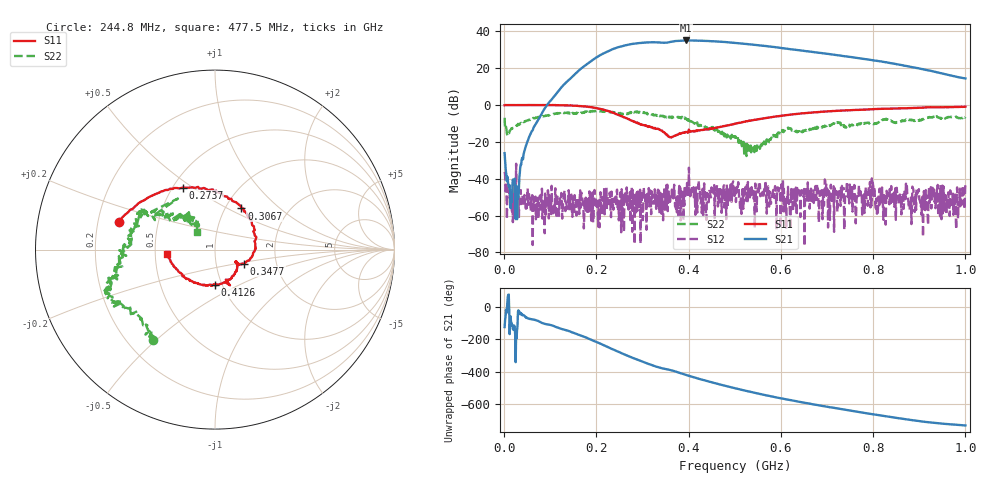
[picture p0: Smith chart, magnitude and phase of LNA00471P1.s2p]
! Created with skrf 1.9.0 (http://scikit-rf.org).
# Hz S RI R 50.0
!freq ReS11 ImS11 ReS21 ImS21 ReS12 ImS12 ReS22 ImS22
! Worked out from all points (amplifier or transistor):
!   1001 points, 1 MHz to 1 GHz, reference 50 ohm
!   highest |S21| = 35.1 dB at 394.6 MHz (marker M1)
!   |S21| within 3 dB of that: 257.1 MHz to 565.7 MHz (308.7 MHz wide, 75 % of centre)
!   unconditionally stable (mu >= 1): 222 MHz to 302.7 MHz; 302.7 MHz to 400.2 MHz; 401 MHz to end of sweep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
!   at 166.8 MHz: K = 0.62, MSG = 34.6 dB, |S12| = -49.4 dB
!   at 500.5 MHz: K = 1.67, MAG = 34.5 dB, |S12| = -44.9 dB
!   at 1 GHz: K = 1.23, MAG = 25.1 dB, |S12| = -41.5 dB
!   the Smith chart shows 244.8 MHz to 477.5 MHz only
!   S11 on the Smith chart (normalised r, x): 244.8 MHz: 0.29, +0.13; 273.7 MHz: 0.56, +0.46; 306.7 MHz: 1.19, +0.59; 347.7 MHz: 1.37, -0.22; 412.6 MHz: 0.92, -0.38; 477.5 MHz: 0.58, -0.03
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1000000  0.9868 -0.00564  -0.027 -0.0414  -0.0143 -0.00558  0.3159 0.3215
1.08892e8  0.533 -0.8418  -0.8275 -1.543  0.000875 0.00087  0.4239 -0.3778
1.67833e8  -0.2104 -0.9077  -10.03 -0.5294  -0.00416 -0.000106  0.0286 -0.615
2.1079e8  -0.6686 -0.3867  -15.62 17.64  -0.000954 0.000498  -0.2441 -0.6455
2.44756e8  -0.5363 0.1529  1.522 36.43  -4.45e-05 -0.00506  -0.3461 -0.5026
2.73727e8  -0.1806 0.3452  27.73 35.01  0.000654 -7.46e-05  -0.5632 -0.3173
3.06694e8  0.1471 0.2291  48.25 12.78  -0.00205 -0.000136  -0.5874 -0.1677
3.34666e8  0.2218 -0.00254  49.15 -10.66  -0.00238 0.000579  -0.5338 -0.00371
3.47653e8  0.1628 -0.0784  45.82 -18.12  -0.00367 0.00476  -0.4664 0.0293
3.7063e8  0.1232 -0.0788  43.46 -33.19  -0.000172 0.00176  -0.4246 0.181
3.94606e8  0.0828 -0.1675  28.54 -49.11  0.0015 0.00536  -0.3813 0.2036
4.12588e8  -0.00082 -0.198  14.52 -54.46  0.00216 0.00488  -0.2577 0.1765
4.43557e8  -0.1521 -0.1624  -9.468 -53.76  0.000704 0.00218  -0.1684 0.1876
4.77523e8  -0.2673 -0.0261  -29.96 -42.08  0.00145 -0.000793  -0.103 0.0968
5.005e8  -0.2962 0.0976  -38.71 -30.21  0.000156 0.00572  -0.0902 0.1095
5.4046e8  -0.2373 0.311  -42.54 -8.783  0.00283 -0.00072  -0.064 -0.011
5.88412e8  -0.0519 0.4861  -35.37 11.42  0.00542 0.000132  -0.106 -0.0858
6.67333e8  0.3217 0.5371  -13.69 24.01  0.00271 -0.00127  -0.2106 -0.0693
7.53247e8  0.6269 0.3703  4.09 19.51  -0.00325 0.000559  -0.2889 -0.0178
8.34166e8  0.7853 0.1462  10.46 9.396  -0.000859 0.00225  -0.3944 -0.0176
9.09091e8  0.8474 -0.1074  9.146 1.733  -0.000236 -0.00167  -0.385 0.1513
1e9  0.8151 -0.3832  5.148 -1.119  -0.0035 0.00765  -0.3532 0.3263
